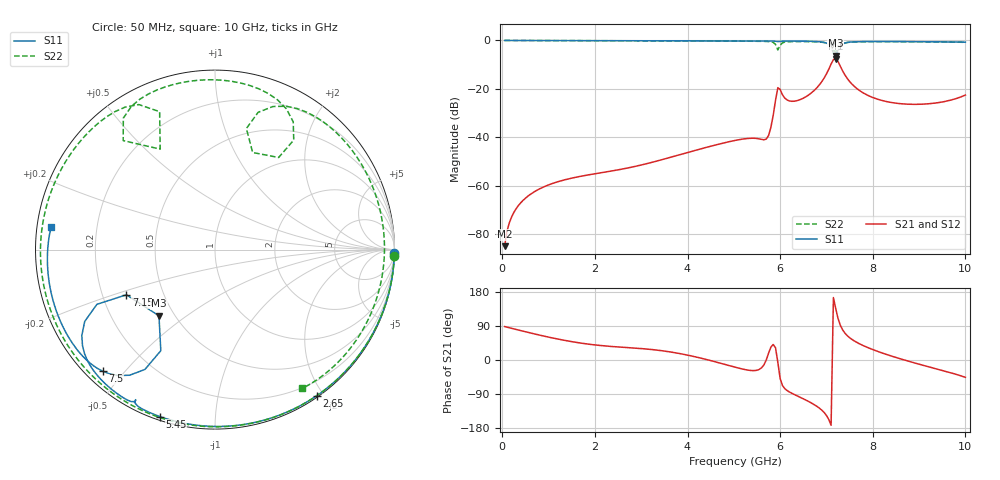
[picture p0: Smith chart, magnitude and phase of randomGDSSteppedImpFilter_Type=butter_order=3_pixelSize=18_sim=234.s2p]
! freq	dB(S11)	phase(S11)	dB(S12)	phase(S12)
!  dB(S21)	phase(S21)	dB(S22)	phase(S22)
!S-par simulation data
#  GHz  S  DB  R 50
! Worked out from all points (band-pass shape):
!   200 points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, 50 MHz to 10 GHz, reference 50 ohm
!   highest |S21| = -7.47 dB at 7.2 GHz (marker M1); lowest = -85.0 dB at 50 MHz (marker M2)
!   |S21| within 3 dB of the highest: 7.083 GHz to 7.294 GHz (211.2 MHz wide, 2.94 % of centre)
!   lowest |S11| = -6.3 dB at 7.2 GHz (marker M3), VSWR 2.87, Z = 20.6 - j19.8 ohm
!   |S11| at or under -10 dB: nowhere
!   |S22| runs from -4.7 to 0.0 dB; largest |S21 - S12| = 0
!   S11 on the Smith chart (normalised r, x): 50 MHz: open; 2.65 GHz: 0.02, -1.92; 5.45 GHz: 0.02, -0.72; 7.15 GHz: 0.30, -0.22; 7.5 GHz: 0.05, -0.44; 10 GHz: 0.04, +0.07
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0.05  -0.00 -1.1  -84.96 88.3  -84.96 88.3  -0.00 -2.1
0.3  -0.01 -6.4  -69.46 80.6  -69.46 80.6  -0.02 -12.3
0.6  -0.02 -12.8  -63.64 71.5  -63.64 71.5  -0.03 -24.6
1.75  -0.05 -36.9  -55.90 43.7  -55.90 43.7  -0.09 -70.4
2.65  -0.07 -55.1  -52.90 33.2  -52.90 33.2  -0.13 -105.0
3.4  -0.09 -69.8  -49.49 25.2  -49.49 25.2  -0.17 -133.4
4.25  -0.12 -86.0  -44.97 6.1  -44.97 6.1  -0.22 -166.3
5.05  -0.16 -100.9  -41.20 -19.7  -41.20 -19.7  -0.28 160.6
5.45  -0.18 -108.3  -40.41 -27.9  -40.41 -27.9  -0.32 142.3
5.75  -0.21 -114.2  -39.26 17.9  -39.26 17.9  -0.45 126.0
5.9  -0.33 -117.6  -24.74 32.1  -24.74 32.1  -1.64 111.9
5.95  -0.49 -117.9  -19.49 -6.0  -19.49 -6.0  -3.91 118.6
6.05  -0.29 -118.8  -22.43 -67.2  -22.43 -67.2  -0.98 124.9
6.3  -0.27 -124.3  -25.10 -90.7  -25.10 -90.7  -0.47 107.0
6.7  -0.38 -134.0  -21.24 -115.2  -21.24 -115.2  -0.52 84.2
7.05  -1.63 -151.1  -11.87 -156.9  -11.87 -156.9  -1.57 58.5
7.15  -5.13 -153.0  -7.93 164.8  -7.93 164.8  -4.10 55.3
7.2  -6.32 -130.3  -7.47 135.7  -7.47 135.7  -4.73 68.8
7.3  -2.24 -120.3  -10.70 91.5  -10.70 91.5  -1.92 72.6
7.5  -0.71 -132.7  -16.95 58.8  -16.95 58.8  -0.72 56.1
8.35  -0.45 -154.0  -25.45 12.5  -25.45 12.5  -0.49 10.7
10  -0.71 172.2  -22.55 -45.7  -22.55 -45.7  -0.79 -57.8
